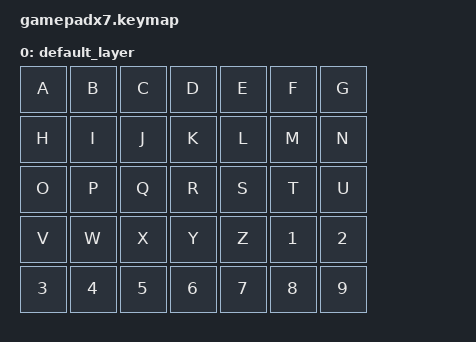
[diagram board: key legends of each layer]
#include <behaviors.dtsi>
#include <dt-bindings/zmk/keys.h>
#include <dt-bindings/zmk/bt.h>

/ {
    behaviors {
ht: hold-tap {
        compatible = "zmk,behavior-hold-tap";
        label = "hold_tap";
#binding-cells = <2>;
        flavor = "tap-preferred";
        tapping-term-ms = <200>;
        quick-tap-ms = <150>;
        global-quick-tap;
        bindings = <&kp>, <&kp>;
    };
    };

    keymap {
        compatible = "zmk,keymap";
        default_layer {
            bindings = <
            &kp A &kp B &kp C &kp D &kp E &kp F &kp G
            &kp H &kp I &kp J &kp K &kp L &kp M &kp N
            &kp O &kp P &kp Q &kp R &kp S &kp T &kp U
            &kp V &kp W &kp X &kp Y &kp Z &kp N1 &kp N2 
            &kp N3 &kp N4 &kp N5 &kp N6 &kp N7 &kp N8 &kp N9
                >;
        };
    };

    };
